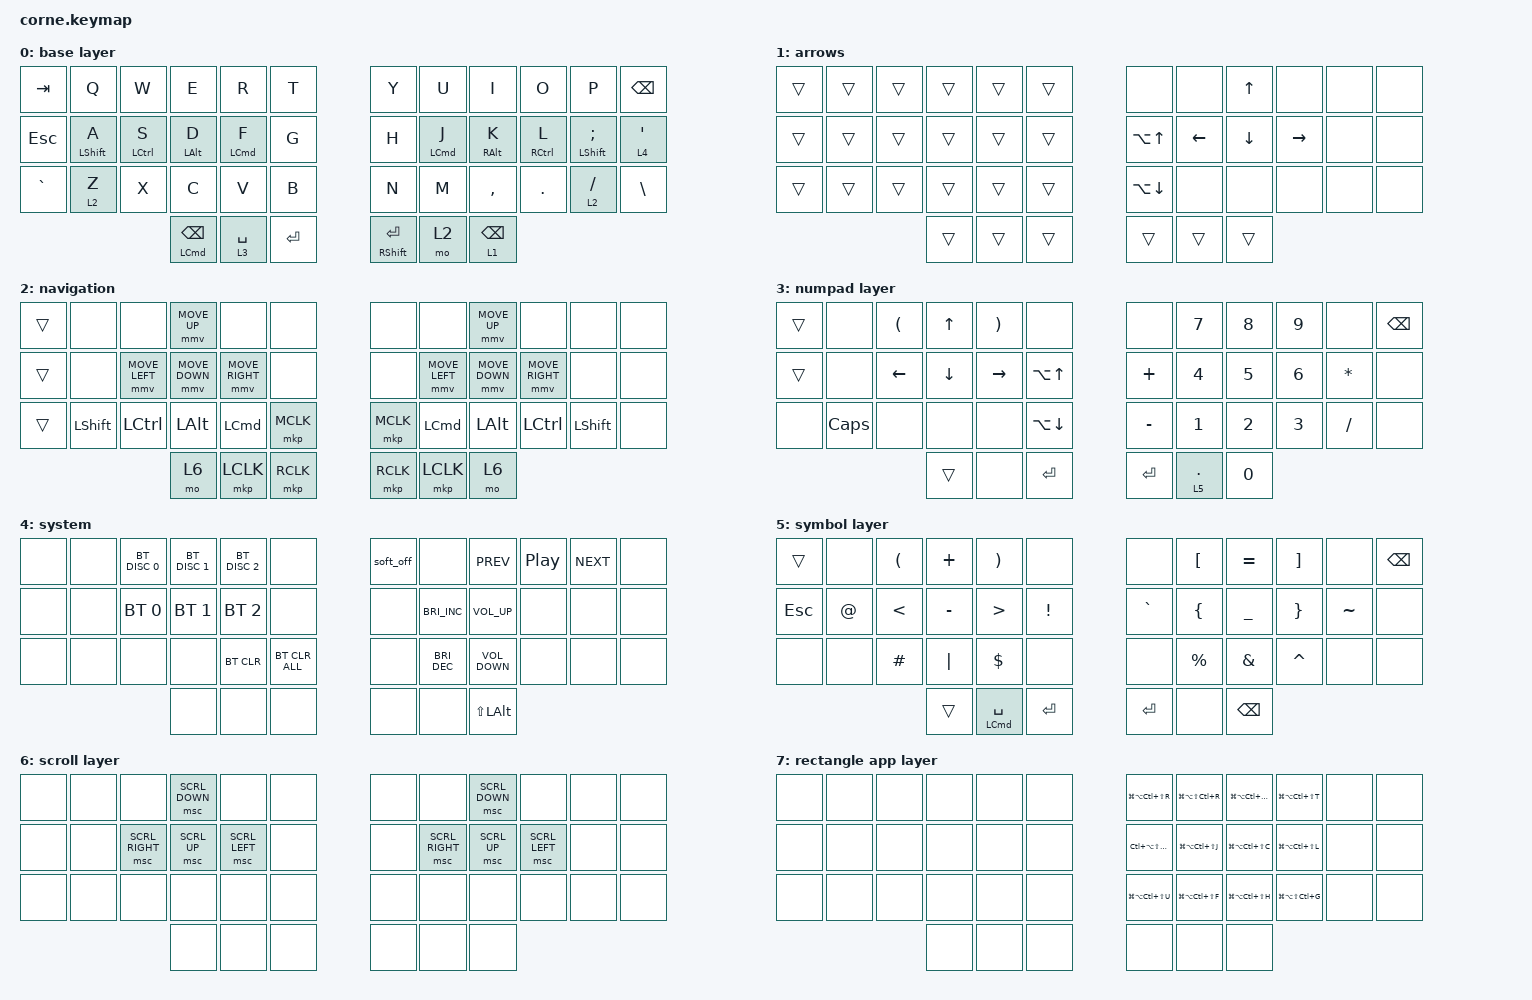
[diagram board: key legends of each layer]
/*
 * Copyright (c) 2020 The ZMK Contributors
 *
 * SPDX-License-Identifier: MIT
 */

#define ZMK_POINTING_DEFAULT_MOVE_VAL 1500  // default: 600
#define ZMK_POINTING_DEFAULT_SCRL_VAL  20    // default: 10

#include <behaviors.dtsi>
#include <dt-bindings/zmk/bt.h>
#include <dt-bindings/zmk/keys.h>
#include <dt-bindings/zmk/pointing.h>

/ {
    behaviors {
        /*
        Home Row Mods

            - tap: &kp <PARAM_2>
            - hold: &kp <PARAM_1>

            Example: &hrml LCMD T
        */

        /omit-if-no-ref/


        /omit-if-no-ref/

        hmr: hmr {
            compatible = "zmk,behavior-hold-tap";
            label = "HMR";
            bindings = <&kp>, <&kp>;

            #binding-cells = <2>;
            tapping-term-ms = <200>;
            flavor = "tap-preferred";
            quick-tap-ms = <200>;
        };

        mom_toggle: mom_toggle {
            compatible = "zmk,behavior-hold-tap";
            label = "MOM_TOGGLE";
            bindings = <&mo>, <&to>;

            #binding-cells = <2>;
            tapping-term-ms = <200>;
        };

        lt_hold_preferred: lt_hold_preferred {
            compatible = "zmk,behavior-hold-tap";
            label = "LT_HOLD_PREFERRED";
            bindings = <&mo>, <&kp>;

            #binding-cells = <2>;
            tapping-term-ms = <200>;
        };
    };

    combos {
        compatible = "zmk,combos";

        //LangRu {
        //    bindings = <&kp LG(F11)>;
        //    key-positions = <0 1>;
        //    timeout-ms = <20>;
        //};
        //LangUs {
        //   bindings = <&kp LG(F12)>;
        //    key-positions = <10 11>;
        //    timeout-ms = <20>;
        //};
        //LangRuL {
        //    bindings = <&kp LG(F11)>;
        //    key-positions = <36 38>;
        //    timeout-ms = <20>;
        //};
        //LangUsL {
        //    bindings = <&kp LG(F12)>;
        //    key-positions = <39 41>;
        //    timeout-ms = <20>;
        //};

        RectangleKey {
            bindings = <&mo 7>;
            key-positions = <2 3>;
            layers = <0>;
        };
    };
};

/ {
    keymap {
        compatible = "zmk,keymap";

        BASE {
            bindings = <
&kp TAB     &kp Q              &kp W                &kp E                       &kp R                       &kp T        &kp Y             &kp U                &kp I             &kp O                 &kp P                      &kp BACKSPACE
&kp ESCAPE  &hmr LEFT_SHIFT A  &hmr LEFT_CONTROL S  &hmr LEFT_ALT D             &hmr LEFT_COMMAND F         &kp G        &kp H             &hmr LEFT_COMMAND J  &hmr RIGHT_ALT K  &hmr RIGHT_CONTROL L  &hmr LEFT_SHIFT SEMICOLON  &lt 4 SQT
&kp GRAVE   &lt 2 Z            &kp X                &kp C                       &kp V                       &kp B        &kp N             &kp M                &kp COMMA         &kp DOT               &lt 2 SLASH                &kp BACKSLASH
                                                    &mt LEFT_COMMAND BACKSPACE  &lt_hold_preferred 3 SPACE  &kp ENTER    &mt RSHIFT ENTER  &mo 2                &lt 1 BACKSPACE
            >;

            label = "base layer";
        };

        ARROWS {
            label = "arrows";
            bindings = <
&trans  &trans  &trans  &trans  &trans  &trans    &none             &none     &kp UP_ARROW  &none      &none  &none
&trans  &trans  &trans  &trans  &trans  &trans    &kp LA(UP_ARROW)  &kp LEFT  &kp DOWN      &kp RIGHT  &none  &none
&trans  &trans  &trans  &trans  &trans  &trans    &kp LA(DOWN)      &none     &none         &none      &none  &none
                        &trans  &trans  &trans    &trans            &trans    &trans
            >;
        };

        NAV {
            bindings = <
&trans  &none           &none             &mmv MOVE_UP    &none             &none        &none      &none             &mmv MOVE_UP    &none             &none           &none
&trans  &none           &mmv MOVE_LEFT    &mmv MOVE_DOWN  &mmv MOVE_RIGHT   &none        &none      &mmv MOVE_LEFT    &mmv MOVE_DOWN  &mmv MOVE_RIGHT   &none           &none
&trans  &kp LEFT_SHIFT  &kp LEFT_CONTROL  &kp LEFT_ALT    &kp LEFT_COMMAND  &mkp MCLK    &mkp MCLK  &kp LEFT_COMMAND  &kp LEFT_ALT    &kp LEFT_CONTROL  &kp LEFT_SHIFT  &none
                                          &mo 6           &mkp LCLK         &mkp RCLK    &mkp RCLK  &mkp LCLK         &mo 6
            >;

            label = "navigation";
        };

        NUM {
            bindings = <
&trans  &none         &kp LEFT_PARENTHESIS  &kp UP_ARROW  &kp RIGHT_PARENTHESIS  &none               &none      &kp N7        &kp N8        &kp N9        &none         &kp BACKSPACE
&trans  &none         &kp LEFT              &kp DOWN      &kp RIGHT              &kp LA(UP_ARROW)    &kp PLUS   &kp NUMBER_4  &kp N5        &kp NUMBER_6  &kp ASTERISK  &none
&none   &kp CAPSLOCK  &none                 &none         &none                  &kp LA(DOWN)        &kp MINUS  &kp NUMBER_1  &kp NUMBER_2  &kp NUMBER_3  &kp SLASH     &none
                                            &trans        &none                  &kp ENTER           &kp ENTER  &lt 5 PERIOD  &kp N0
            >;

            label = "numpad layer";
        };

        SYS {
            bindings = <
&none  &none  &bt BT_DISC 0  &bt BT_DISC 1  &bt BT_DISC 2  &none             &soft_off  &none                 &kp C_PREV         &kp C_PLAY_PAUSE  &kp C_NEXT  &none
&none  &none  &bt BT_SEL 0   &bt BT_SEL 1   &bt BT_SEL 2   &none             &none      &kp C_BRIGHTNESS_INC  &kp C_VOLUME_UP    &none             &none       &none
&none  &none  &none          &none          &bt BT_CLR     &bt BT_CLR_ALL    &none      &kp C_BRIGHTNESS_DEC  &kp C_VOLUME_DOWN  &none             &none       &none
                             &none          &none          &none             &none      &none                 &kp LS(LEFT_ALT)
            >;

            label = "system";
        };

        SYM {
            label = "symbol layer";
            bindings = <
&trans      &none   &kp LEFT_PARENTHESIS  &kp PLUS   &kp RIGHT_PARENTHESIS   &none              &none      &kp LEFT_BRACKET  &kp EQUAL       &kp RIGHT_BRACKET  &none      &kp BACKSPACE
&kp ESCAPE  &kp AT  &kp LESS_THAN         &kp MINUS  &kp GREATER_THAN        &kp EXCLAMATION    &kp GRAVE  &kp LEFT_BRACE    &kp UNDERSCORE  &kp RIGHT_BRACE    &kp TILDE  &none
&none       &none   &kp HASH              &kp PIPE   &kp DOLLAR              &none              &none      &kp PERCENT       &kp AMPS        &kp CARET          &none      &none
                                          &trans     &mt LEFT_COMMAND SPACE  &kp ENTER          &kp ENTER  &none             &kp BACKSPACE
            >;
        };

        SCROLL {
            bindings = <
&none  &none  &none            &msc SCRL_DOWN  &none           &none    &none  &none            &msc SCRL_DOWN  &none           &none  &none
&none  &none  &msc SCRL_RIGHT  &msc SCRL_UP    &msc SCRL_LEFT  &none    &none  &msc SCRL_RIGHT  &msc SCRL_UP    &msc SCRL_LEFT  &none  &none
&none  &none  &none            &none           &none           &none    &none  &none            &none           &none           &none  &none
                               &none           &none           &none    &none  &none            &none
            >;

            label = "scroll layer";
        };

        REC {
            bindings = <
&none  &none  &none  &none  &none  &none    &kp LG(LA(LC(LS(R))))  &kp LG(LA(LS(LC(R))))  &kp LG(LA(LC(LS(M))))  &kp LG(LA(LC(LS(T))))  &none  &none
&none  &none  &none  &none  &none  &none    &kp LC(LA(LS(LG(O))))  &kp LG(LA(LC(LS(J))))  &kp LG(LA(LC(LS(C))))  &kp LG(LA(LC(LS(L))))  &none  &none
&none  &none  &none  &none  &none  &none    &kp LG(LA(LC(LS(U))))  &kp LG(LA(LC(LS(F))))  &kp LG(LA(LC(LS(H))))  &kp LG(LA(LS(LC(G))))  &none  &none
                     &none  &none  &none    &none                  &none                  &none
            >;

            label = "rectangle app layer";
        };
    };
};
